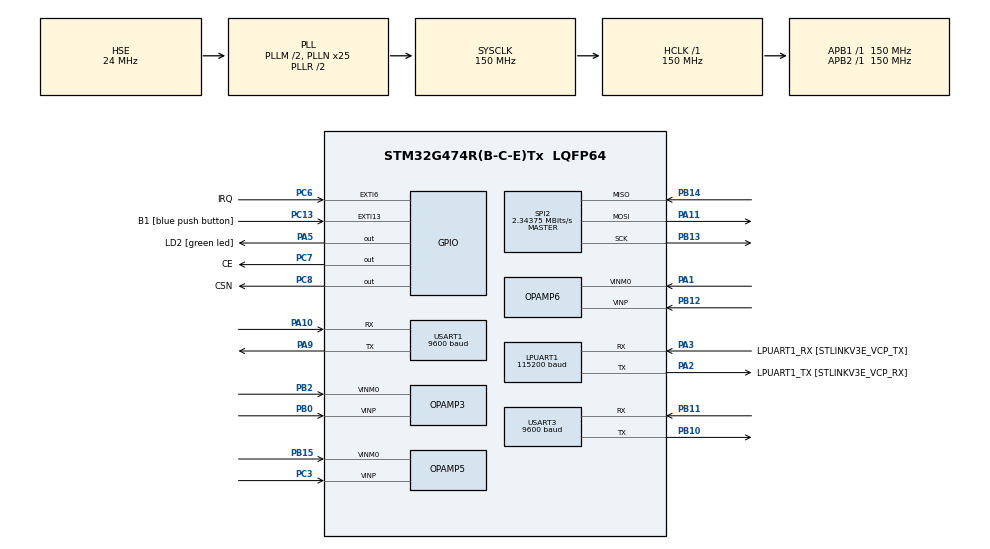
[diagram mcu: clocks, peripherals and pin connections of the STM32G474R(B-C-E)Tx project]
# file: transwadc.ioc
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ADC2.Channel-0\#ChannelRegularConversion=ADC_CHANNEL_VOPAMP3_ADC2
ADC2.ClockPrescaler=ADC_CLOCK_SYNC_PCLK_DIV4
ADC2.ContinuousConvMode=ENABLE
ADC2.NbrOfConversionFlag=1
ADC2.OffsetNumber-0\#ChannelRegularConversion=ADC_OFFSET_NONE
ADC2.Rank-0\#ChannelRegularConversion=1
ADC2.SamplingTime-0\#ChannelRegularConversion=ADC_SAMPLETIME_47CYCLES_5
ADC4.Channel-0\#ChannelRegularConversion=ADC_CHANNEL_VOPAMP6
ADC4.ContinuousConvMode=ENABLE
ADC4.NbrOfConversionFlag=1
ADC4.OffsetNumber-0\#ChannelRegularConversion=ADC_OFFSET_NONE
ADC4.Rank-0\#ChannelRegularConversion=1
ADC4.SamplingTime-0\#ChannelRegularConversion=ADC_SAMPLETIME_47CYCLES_5
ADC5.Channel-2\#ChannelRegularConversion=ADC_CHANNEL_VOPAMP5
ADC5.ContinuousConvMode=ENABLE
ADC5.NbrOfConversionFlag=1
ADC5.OffsetNumber-2\#ChannelRegularConversion=ADC_OFFSET_NONE
ADC5.Rank-2\#ChannelRegularConversion=1
ADC5.SamplingTime-2\#ChannelRegularConversion=ADC_SAMPLETIME_2CYCLES_5
Dma.ADC2.1.Direction=DMA_PERIPH_TO_MEMORY
Dma.ADC2.1.EventEnable=DISABLE
Dma.ADC2.1.Instance=DMA2_Channel1
Dma.ADC2.1.MemDataAlignment=DMA_MDATAALIGN_HALFWORD
Dma.ADC2.1.MemInc=DMA_MINC_ENABLE
Dma.ADC2.1.Mode=DMA_NORMAL
Dma.ADC2.1.PeriphDataAlignment=DMA_PDATAALIGN_HALFWORD
Dma.ADC2.1.PeriphInc=DMA_PINC_DISABLE
Dma.ADC2.1.Polarity=HAL_DMAMUX_REQ_GEN_RISING
Dma.ADC2.1.Priority=DMA_PRIORITY_VERY_HIGH
Dma.ADC2.1.RequestNumber=1
Dma.ADC2.1.SignalID=NONE
Dma.ADC2.1.SyncEnable=DISABLE
Dma.ADC2.1.SyncPolarity=HAL_DMAMUX_SYNC_NO_EVENT
Dma.ADC2.1.SyncRequestNumber=1
Dma.ADC2.1.SyncSignalID=NONE
Dma.ADC4.3.Direction=DMA_PERIPH_TO_MEMORY
Dma.ADC4.3.EventEnable=DISABLE
Dma.ADC4.3.Instance=DMA1_Channel2
Dma.ADC4.3.MemDataAlignment=DMA_MDATAALIGN_HALFWORD
Dma.ADC4.3.MemInc=DMA_MINC_ENABLE
Dma.ADC4.3.Mode=DMA_NORMAL
Dma.ADC4.3.PeriphDataAlignment=DMA_PDATAALIGN_HALFWORD
Dma.ADC4.3.PeriphInc=DMA_PINC_DISABLE
Dma.ADC4.3.Polarity=HAL_DMAMUX_REQ_GEN_RISING
Dma.ADC4.3.Priority=DMA_PRIORITY_VERY_HIGH
Dma.ADC4.3.RequestNumber=1
Dma.ADC4.3.SignalID=NONE
Dma.ADC4.3.SyncEnable=DISABLE
Dma.ADC4.3.SyncPolarity=HAL_DMAMUX_SYNC_NO_EVENT
Dma.ADC4.3.SyncRequestNumber=1
Dma.ADC4.3.SyncSignalID=NONE
Dma.ADC5.2.Direction=DMA_PERIPH_TO_MEMORY
Dma.ADC5.2.EventEnable=DISABLE
Dma.ADC5.2.Instance=DMA1_Channel1
Dma.ADC5.2.MemDataAlignment=DMA_MDATAALIGN_HALFWORD
Dma.ADC5.2.MemInc=DMA_MINC_ENABLE
Dma.ADC5.2.Mode=DMA_NORMAL
Dma.ADC5.2.PeriphDataAlignment=DMA_PDATAALIGN_HALFWORD
Dma.ADC5.2.PeriphInc=DMA_PINC_DISABLE
Dma.ADC5.2.Polarity=HAL_DMAMUX_REQ_GEN_RISING
Dma.ADC5.2.Priority=DMA_PRIORITY_VERY_HIGH
Dma.ADC5.2.RequestNumber=1
Dma.ADC5.2.SignalID=NONE
Dma.ADC5.2.SyncEnable=DISABLE
Dma.ADC5.2.SyncPolarity=HAL_DMAMUX_SYNC_NO_EVENT
Dma.ADC5.2.SyncRequestNumber=1
Dma.ADC5.2.SyncSignalID=NONE
Dma.LPUART1_TX.0.Direction=DMA_MEMORY_TO_PERIPH
Dma.LPUART1_TX.0.EventEnable=DISABLE
Dma.LPUART1_TX.0.Instance=DMA1_Channel3
Dma.LPUART1_TX.0.MemDataAlignment=DMA_MDATAALIGN_BYTE
Dma.LPUART1_TX.0.MemInc=DMA_MINC_ENABLE
Dma.LPUART1_TX.0.Mode=DMA_NORMAL
Dma.LPUART1_TX.0.PeriphDataAlignment=DMA_PDATAALIGN_BYTE
Dma.LPUART1_TX.0.PeriphInc=DMA_PINC_DISABLE
Dma.LPUART1_TX.0.Polarity=HAL_DMAMUX_REQ_GEN_RISING
Dma.LPUART1_TX.0.Priority=DMA_PRIORITY_LOW
Dma.LPUART1_TX.0.RequestNumber=1
Dma.LPUART1_TX.0.SignalID=NONE
Dma.LPUART1_TX.0.SyncEnable=DISABLE
Dma.LPUART1_TX.0.SyncPolarity=HAL_DMAMUX_SYNC_NO_EVENT
Dma.LPUART1_TX.0.SyncRequestNumber=1
Dma.LPUART1_TX.0.SyncSignalID=NONE
Dma.Request0=LPUART1_TX
Dma.Request1=ADC2
Dma.Request2=ADC5
Dma.Request3=ADC4
LPUART1.BaudRate=115200
LPUART1.WordLength=UART_WORDLENGTH_8B
Mcu.Family=STM32G4
Mcu.Name=STM32G474R(B-C-E)Tx
Mcu.Package=LQFP64
NVIC.ADC1_2_IRQn=true\:0\:0\:false\:false\:true\:true\:true
NVIC.DMA1_Channel1_IRQn=true\:0\:0\:false\:false\:true\:false\:true
NVIC.DMA1_Channel2_IRQn=true\:0\:0\:false\:false\:true\:false\:true
NVIC.DMA1_Channel3_IRQn=true\:0\:0\:false\:false\:true\:false\:true
NVIC.DMA2_Channel1_IRQn=true\:0\:0\:false\:false\:true\:false\:true
NVIC.EXTI15_10_IRQn=true\:0\:0\:false\:false\:true\:true\:true
NVIC.FLASH_IRQn=true\:0\:0\:false\:false\:true\:true\:true
NVIC.PVD_PVM_IRQn=true\:0\:0\:false\:false\:true\:true\:true
NVIC.PriorityGroup=NVIC_PRIORITYGROUP_4
OPAMP3.PgaGain=OPAMP_PGA_GAIN_64_OR_MINUS_63
OPAMP3.PowerMode=OPAMP_POWERMODE_HIGHSPEED
OPAMP5.PgaGain=OPAMP_PGA_GAIN_64_OR_MINUS_63
OPAMP5.PowerMode=OPAMP_POWERMODE_HIGHSPEED
PA1.Mode=PGA_Internally_Connected
PA1.Signal=OPAMP6_VINM0
PA10.Mode=Asynchronous
PA10.Signal=USART1_RX
PA11.Mode=Full_Duplex_Master
PA11.Signal=SPI2_MOSI
PA13.GPIO_Label=T_SWDIO
PA13.Mode=Serial_Wire
PA13.Signal=SYS_JTMS-SWDIO
PA14.GPIO_Label=T_SWCLK
PA14.Mode=Serial_Wire
PA14.Signal=SYS_JTCK-SWCLK
PA2.GPIO_Label=LPUART1_TX [STLINKV3E_VCP_RX]
PA2.Mode=Asynchronous
PA2.Signal=LPUART1_TX
PA3.GPIO_Label=LPUART1_RX [STLINKV3E_VCP_TX]
PA3.Mode=Asynchronous
PA3.Signal=LPUART1_RX
PA5.GPIO_Label=LD2 [green led]
PA5.Signal=GPIO_Output
PA9.Mode=Asynchronous
PA9.Signal=USART1_TX
PB0.Mode=PGA_Internally_Connected
PB0.Signal=OPAMP3_VINP
PB10.Mode=Asynchronous
PB10.Signal=USART3_TX
PB11.Mode=Asynchronous
PB11.Signal=USART3_RX
PB12.Mode=PGA_Internally_Connected
PB12.Signal=OPAMP6_VINP
PB13.Mode=Full_Duplex_Master
PB13.Signal=SPI2_SCK
PB14.Mode=Full_Duplex_Master
PB14.Signal=SPI2_MISO
PB15.Mode=PGA_Internally_Connected
PB15.Signal=OPAMP5_VINM0
PB2.Mode=PGA_Internally_Connected
PB2.Signal=OPAMP3_VINM0
PB3.GPIO_Label=T_SWO
PB3.Signal=SYS_JTDO-SWO
PC13.GPIO_Label=B1 [blue push button]
PC13.Signal=GPXTI13
PC14-OSC32_IN.Mode=LSE-External-Oscillator
PC14-OSC32_IN.Signal=RCC_OSC32_IN
PC15-OSC32_OUT.Mode=LSE-External-Oscillator
PC15-OSC32_OUT.Signal=RCC_OSC32_OUT
PC3.Mode=PGA_Internally_Connected
PC3.Signal=OPAMP5_VINP
PC6.GPIO_Label=IRQ
PC6.Signal=GPXTI6
PC7.GPIO_Label=CE
PC7.GPIO_PuPd=GPIO_PULLDOWN
PC7.Signal=GPIO_Output
PC8.GPIO_Label=CSN
PC8.GPIO_PuPd=GPIO_PULLUP
PC8.Signal=GPIO_Output
PF0-OSC_IN.Mode=HSE-External-Oscillator
PF0-OSC_IN.Signal=RCC_OSC_IN
PF1-OSC_OUT.Mode=HSE-External-Oscillator
PF1-OSC_OUT.Signal=RCC_OSC_OUT
ProjectManager.HeapSize=0x200
ProjectManager.StackSize=0x400
ProjectManager.TargetToolchain=STM32CubeIDE
RCC.ADC12Freq_Value=150000000
RCC.ADC345Freq_Value=150000000
RCC.AHBFreq_Value=150000000
RCC.APB1Freq_Value=150000000
RCC.APB1TimFreq_Value=150000000
RCC.APB2Freq_Value=150000000
RCC.APB2TimFreq_Value=150000000
RCC.CK48CLockSelection=RCC_USBCLKSOURCE_HSI48
RCC.CortexFreq_Value=150000000
RCC.EXTERNAL_CLOCK_VALUE=12288000
RCC.HCLKFreq_Value=150000000
RCC.HSE_VALUE=24000000
RCC.HSI48_VALUE=48000000
RCC.HSI_VALUE=16000000
RCC.PLLM=RCC_PLLM_DIV2
RCC.PLLN=25
RCC.PLLSourceVirtual=RCC_PLLSOURCE_HSE
RCC.RTCClockSelection=RCC_RTCCLKSOURCE_LSE
RCC.SYSCLKFreq_VALUE=150000000
RCC.SYSCLKSource=RCC_SYSCLKSOURCE_PLLCLK
RCC.USBFreq_Value=48000000
RCC.VCOOutputFreq_Value=300000000
SPI2.BaudRatePrescaler=SPI_BAUDRATEPRESCALER_64
SPI2.CalculateBaudRate=2.34375 MBits/s
SPI2.DataSize=SPI_DATASIZE_8BIT
SPI2.Direction=SPI_DIRECTION_2LINES
SPI2.Mode=SPI_MODE_MASTER
SPI2.NSSPMode=SPI_NSS_PULSE_DISABLE
SPI2.VirtualType=VM_MASTER
USART1.BaudRate=9600
USART1.VirtualMode-Asynchronous=VM_ASYNC
USART3.BaudRate=9600
USART3.VirtualMode-Asynchronous=VM_ASYNC
VP_ADC2_OPAMP_INTERNAL3.Mode=IN-OPAMP3
VP_ADC4_OPAMP_INTERNAL6.Mode=IN-OPAMP6
VP_ADC5_OPAMP_INTERNAL5.Mode=IN-OPAMP5
VP_SYS_VS_DBSignals.Mode=DisableDeadBatterySignals
board=NUCLEO-G474RE

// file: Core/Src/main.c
/* USER CODE BEGIN Header */
/**
 ******************************************************************************
 * @file           : main.c
 * @brief          : Main program body
 ******************************************************************************
 * @attention
 *
 * <h2><center>&copy; Copyright (c) 2020 STMicroelectronics.
 * All rights reserved.</center></h2>
 *
 * This software component is licensed by ST under BSD 3-Clause license,
 * the "License"; You may not use this file except in compliance with the
 * License. You may obtain a copy of the License at:
 *                        opensource.org/licenses/BSD-3-Clause
 *
 ******************************************************************************
 */
/* USER CODE END Header */
#include "main.h"

/* USER CODE BEGIN Includes */
#include <string.h>
#include <stdbool.h>
#include "RF24.h"
#define MAXCLISTRING          100 // Biggest string the user will type
volatile uint32_t msTicks;
uint8_t rxBuffer5 = '\000'; // where we store that one character that just came in
uint8_t rxString5[MAXCLISTRING]; // where we build our string from characters coming in
uint8_t rxBuffer3 = '\000'; // where we store that one character that just came in
uint8_t rxString3[MAXCLISTRING]; // where we build our string from characters coming in
uint8_t stroka[MAXCLISTRING];
uint8_t Variable[MAXCLISTRING];
int  rxindex5 = 0; // index for going though rxString
void print5(uint8_t string[]);
void executeSerialCommand5(uint8_t string[]);
char trans_str[64] = {0,};
int max = 32000;
volatile uint16_t adc = 0;
volatile uint16_t adcm1[0] = {0};
volatile uint16_t adcm2[0] = {0};
volatile uint16_t adcm3[60000] = {0};
volatile uint16_t flag1 = 0;
volatile uint16_t flag2 = 0;
volatile uint16_t flag3 = 0;
int  rxindex3 = 0; // index for going though rxString
uint32_t scorer = 0;
char snum[50];

int var;
uint16_t time = 0;
uint16_t timend = 0;
/* USER CODE END Includes */

ADC_HandleTypeDef hadc2;
ADC_HandleTypeDef hadc4;
ADC_HandleTypeDef hadc5;
DMA_HandleTypeDef hdma_adc2;
DMA_HandleTypeDef hdma_adc4;
DMA_HandleTypeDef hdma_adc5;

UART_HandleTypeDef hlpuart1;
UART_HandleTypeDef huart1;
UART_HandleTypeDef huart3;
DMA_HandleTypeDef hdma_lpuart1_tx;

OPAMP_HandleTypeDef hopamp3;
OPAMP_HandleTypeDef hopamp5;
OPAMP_HandleTypeDef hopamp6;

SPI_HandleTypeDef hspi2;

void SystemClock_Config(void);
static void MX_GPIO_Init(void);
static void MX_DMA_Init(void);
static void MX_LPUART1_UART_Init(void);
static void MX_USART3_UART_Init(void);
static void MX_OPAMP3_Init(void);
static void MX_ADC2_Init(void);
static void MX_OPAMP6_Init(void);
static void MX_ADC4_Init(void);
static void MX_USART1_UART_Init(void);
static void MX_ADC5_Init(void);
static void MX_OPAMP5_Init(void);
static void MX_SPI2_Init(void);

int main(void)
{

  /* MCU Configuration--------------------------------------------------------*/

  /* Reset of all peripherals, Initializes the Flash interface and the Systick. */
  HAL_Init();

  /* Configure the system clock */
  SystemClock_Config();

  /* Initialize all configured peripherals */
  MX_GPIO_Init();
  MX_DMA_Init();
  MX_LPUART1_UART_Init();
  MX_USART3_UART_Init();
  MX_OPAMP3_Init();
  MX_ADC2_Init();
  MX_OPAMP6_Init();
  MX_ADC4_Init();
  MX_USART1_UART_Init();
  MX_ADC5_Init();
  MX_OPAMP5_Init();
  MX_SPI2_Init();

  /* Infinite loop */
  /* USER CODE BEGIN WHILE */
	HAL_ADCEx_Calibration_Start(&hadc4, ADC_SINGLE_ENDED);
	HAL_ADCEx_Calibration_Start(&hadc2, ADC_SINGLE_ENDED);
	HAL_ADCEx_Calibration_Start(&hadc5, ADC_SINGLE_ENDED);
	HAL_OPAMP_Start(&hopamp6);
	HAL_OPAMP_Start(&hopamp3);
	HAL_OPAMP_Start(&hopamp5);
	//HAL_UART_Transmit(&hlpuart1, (uint8_t*) "salam\r\n", strlen("salam\r\n"),1);
	DWT_Init();
	const uint64_t pipe1 = 0xE8E8F0F0E2LL;
	NRF_Init();
	enableAckPayload();
	//setAutoAck(false);
	//setPayloadSize(6);
	setChannel(0x73);
	openWritingPipe(pipe1);

	uint8_t nrf_data[32] = {88,86,97,}; // буфер указываем максимального размера

	while (1)
	{

		flag1 =0;
		flag2 =0;
		flag3 =0;
		memset(adcm3,0,60000);
		//print5("0000000gen");

		//HAL_Delay(cmech);
		HAL_GPIO_TogglePin(LD2_GPIO_Port, LD2_Pin);

		write(&nrf_data, strlen((const char*)nrf_data));
		//HAL_ADC_Start_DMA(&hadc5, (uint32_t*)adcm3, 60000);
		//while(flag1==1 && flag2==1 && flag3==1);

		HAL_Delay(500);

		for (var = 100; var < 60000; ++var) {

			if(adcm3[var]>600){

//				int maxi, maxi_i, ii;
//
//				maxi = 0;
//				for(int ikk = 10; ikk < 60000-1; ++ikk)
//				{
////					if(adcm3[ikk]!=0)
////					if(adcm3[ikk+1]/adcm3[ikk] > maxi)
////					{
////						maxi = adcm3[ikk+1]/adcm3[ikk];
////						maxi_i = ikk;
////					}
//					if(adcm3[ikk] > 20)
//					{
//						maxi_i = ikk;
//						break;
//					}
//				}
//
//				for (ii = 0; ii < 60000; ++ii) {
//
//					itoa(adcm3[ii], snum1, 10);
//					strcat(snum1,"\r\n");
//					HAL_UART_Transmit(&hlpuart1, (uint8_t*) snum1, strlen(snum1),1);
//				}
				char snum1[50];
				itoa(var, snum1, 10);
				strcat(snum1,"\r\n");
				HAL_UART_Transmit(&hlpuart1, (uint8_t*) snum1, strlen(snum1),1);

				var = 60000;
				break;
			}

		}

//		for (int ii = 0; ii < 60000; ++ii) {
//
//			itoa(adcm3[ii], snum1, 10);
//			strcat(snum1,"\r\n");
//			HAL_UART_Transmit(&hlpuart1, (uint8_t*) snum1, strlen(snum1),1);
//		}
//		itoa(5000, snum1, 10);
//		strcat(snum1,"\r\n");
//		strcat(snum, snum1);
//		HAL_UART_Transmit(&hlpuart1, (uint8_t*) snum1, strlen(snum1),10);
	HAL_Delay(40);
	isAckPayloadAvailable();
    /* USER CODE END WHILE */

	}
}

void SystemClock_Config(void)
{
  RCC_OscInitTypeDef RCC_OscInitStruct = {0};
  RCC_ClkInitTypeDef RCC_ClkInitStruct = {0};
  RCC_PeriphCLKInitTypeDef PeriphClkInit = {0};

  /** Configure the main internal regulator output voltage
  */
  HAL_PWREx_ControlVoltageScaling(PWR_REGULATOR_VOLTAGE_SCALE1);
  /** Initializes the RCC Oscillators according to the specified parameters
  * in the RCC_OscInitTypeDef structure.
  */
  RCC_OscInitStruct.OscillatorType = RCC_OSCILLATORTYPE_HSE;
  RCC_OscInitStruct.HSEState = RCC_HSE_ON;
  RCC_OscInitStruct.PLL.PLLState = RCC_PLL_ON;
  RCC_OscInitStruct.PLL.PLLSource = RCC_PLLSOURCE_HSE;
  RCC_OscInitStruct.PLL.PLLM = RCC_PLLM_DIV2;
  RCC_OscInitStruct.PLL.PLLN = 25;
  RCC_OscInitStruct.PLL.PLLP = RCC_PLLP_DIV2;
  RCC_OscInitStruct.PLL.PLLQ = RCC_PLLQ_DIV2;
  RCC_OscInitStruct.PLL.PLLR = RCC_PLLR_DIV2;
  if (HAL_RCC_OscConfig(&RCC_OscInitStruct) != HAL_OK)
  {
    Error_Handler();
  }
  /** Initializes the CPU, AHB and APB buses clocks
  */
  RCC_ClkInitStruct.ClockType = RCC_CLOCKTYPE_HCLK|RCC_CLOCKTYPE_SYSCLK
                              |RCC_CLOCKTYPE_PCLK1|RCC_CLOCKTYPE_PCLK2;
  RCC_ClkInitStruct.SYSCLKSource = RCC_SYSCLKSOURCE_PLLCLK;
  RCC_ClkInitStruct.AHBCLKDivider = RCC_SYSCLK_DIV1;
  RCC_ClkInitStruct.APB1CLKDivider = RCC_HCLK_DIV1;
  RCC_ClkInitStruct.APB2CLKDivider = RCC_HCLK_DIV1;

  if (HAL_RCC_ClockConfig(&RCC_ClkInitStruct, FLASH_LATENCY_4) != HAL_OK)
  {
    Error_Handler();
  }
  /** Initializes the peripherals clocks
  */
  PeriphClkInit.PeriphClockSelection = RCC_PERIPHCLK_USART1|RCC_PERIPHCLK_USART3
                              |RCC_PERIPHCLK_LPUART1|RCC_PERIPHCLK_ADC12
                              |RCC_PERIPHCLK_ADC345;
  PeriphClkInit.Usart1ClockSelection = RCC_USART1CLKSOURCE_PCLK2;
  PeriphClkInit.Usart3ClockSelection = RCC_USART3CLKSOURCE_PCLK1;
  PeriphClkInit.Lpuart1ClockSelection = RCC_LPUART1CLKSOURCE_PCLK1;
  PeriphClkInit.Adc12ClockSelection = RCC_ADC12CLKSOURCE_SYSCLK;
  PeriphClkInit.Adc345ClockSelection = RCC_ADC345CLKSOURCE_SYSCLK;
  if (HAL_RCCEx_PeriphCLKConfig(&PeriphClkInit) != HAL_OK)
  {
    Error_Handler();
  }
}

static void MX_ADC2_Init(void)
{

  ADC_ChannelConfTypeDef sConfig = {0};

  /** Common config
  */
  hadc2.Instance = ADC2;
  hadc2.Init.ClockPrescaler = ADC_CLOCK_SYNC_PCLK_DIV4;
  hadc2.Init.Resolution = ADC_RESOLUTION_12B;
  hadc2.Init.DataAlign = ADC_DATAALIGN_RIGHT;
  hadc2.Init.GainCompensation = 0;
  hadc2.Init.ScanConvMode = ADC_SCAN_DISABLE;
  hadc2.Init.EOCSelection = ADC_EOC_SINGLE_CONV;
  hadc2.Init.LowPowerAutoWait = DISABLE;
  hadc2.Init.ContinuousConvMode = ENABLE;
  hadc2.Init.NbrOfConversion = 1;
  hadc2.Init.DiscontinuousConvMode = DISABLE;
  hadc2.Init.ExternalTrigConv = ADC_SOFTWARE_START;
  hadc2.Init.ExternalTrigConvEdge = ADC_EXTERNALTRIGCONVEDGE_NONE;
  hadc2.Init.DMAContinuousRequests = DISABLE;
  hadc2.Init.Overrun = ADC_OVR_DATA_PRESERVED;
  hadc2.Init.OversamplingMode = DISABLE;
  if (HAL_ADC_Init(&hadc2) != HAL_OK)
  {
    Error_Handler();
  }
  /** Configure Regular Channel
  */
  sConfig.Channel = ADC_CHANNEL_VOPAMP3_ADC2;
  sConfig.Rank = ADC_REGULAR_RANK_1;
  sConfig.SamplingTime = ADC_SAMPLETIME_47CYCLES_5;
  sConfig.SingleDiff = ADC_SINGLE_ENDED;
  sConfig.OffsetNumber = ADC_OFFSET_NONE;
  sConfig.Offset = 0;
  if (HAL_ADC_ConfigChannel(&hadc2, &sConfig) != HAL_OK)
  {
    Error_Handler();
  }

}

static void MX_ADC4_Init(void)
{

  ADC_ChannelConfTypeDef sConfig = {0};

  /** Common config
  */
  hadc4.Instance = ADC4;
  hadc4.Init.ClockPrescaler = ADC_CLOCK_SYNC_PCLK_DIV4;
  hadc4.Init.Resolution = ADC_RESOLUTION_12B;
  hadc4.Init.DataAlign = ADC_DATAALIGN_RIGHT;
  hadc4.Init.GainCompensation = 0;
  hadc4.Init.ScanConvMode = ADC_SCAN_DISABLE;
  hadc4.Init.EOCSelection = ADC_EOC_SINGLE_CONV;
  hadc4.Init.LowPowerAutoWait = DISABLE;
  hadc4.Init.ContinuousConvMode = ENABLE;
  hadc4.Init.NbrOfConversion = 1;
  hadc4.Init.DiscontinuousConvMode = DISABLE;
  hadc4.Init.ExternalTrigConv = ADC_SOFTWARE_START;
  hadc4.Init.ExternalTrigConvEdge = ADC_EXTERNALTRIGCONVEDGE_NONE;
  hadc4.Init.DMAContinuousRequests = DISABLE;
  hadc4.Init.Overrun = ADC_OVR_DATA_PRESERVED;
  hadc4.Init.OversamplingMode = DISABLE;
  if (HAL_ADC_Init(&hadc4) != HAL_OK)
  {
    Error_Handler();
  }
  /** Configure Regular Channel
  */
  sConfig.Channel = ADC_CHANNEL_VOPAMP6;
  sConfig.Rank = ADC_REGULAR_RANK_1;
  sConfig.SamplingTime = ADC_SAMPLETIME_47CYCLES_5;
  sConfig.SingleDiff = ADC_SINGLE_ENDED;
  sConfig.OffsetNumber = ADC_OFFSET_NONE;
  sConfig.Offset = 0;
  if (HAL_ADC_ConfigChannel(&hadc4, &sConfig) != HAL_OK)
  {
    Error_Handler();
  }

}

static void MX_ADC5_Init(void)
{

  ADC_ChannelConfTypeDef sConfig = {0};

  /** Common config
  */
  hadc5.Instance = ADC5;
  hadc5.Init.ClockPrescaler = ADC_CLOCK_SYNC_PCLK_DIV4;
  hadc5.Init.Resolution = ADC_RESOLUTION_12B;
  hadc5.Init.DataAlign = ADC_DATAALIGN_RIGHT;
  hadc5.Init.GainCompensation = 0;
  hadc5.Init.ScanConvMode = ADC_SCAN_DISABLE;
  hadc5.Init.EOCSelection = ADC_EOC_SINGLE_CONV;
  hadc5.Init.LowPowerAutoWait = DISABLE;
  hadc5.Init.ContinuousConvMode = ENABLE;
  hadc5.Init.NbrOfConversion = 1;
  hadc5.Init.DiscontinuousConvMode = DISABLE;
  hadc5.Init.ExternalTrigConv = ADC_SOFTWARE_START;
  hadc5.Init.ExternalTrigConvEdge = ADC_EXTERNALTRIGCONVEDGE_NONE;
  hadc5.Init.DMAContinuousRequests = DISABLE;
  hadc5.Init.Overrun = ADC_OVR_DATA_PRESERVED;
  hadc5.Init.OversamplingMode = DISABLE;
  if (HAL_ADC_Init(&hadc5) != HAL_OK)
  {
    Error_Handler();
  }
  /** Configure Regular Channel
  */
  sConfig.Channel = ADC_CHANNEL_VOPAMP5;
  sConfig.Rank = ADC_REGULAR_RANK_1;
  sConfig.SamplingTime = ADC_SAMPLETIME_2CYCLES_5;
  sConfig.SingleDiff = ADC_SINGLE_ENDED;
  sConfig.OffsetNumber = ADC_OFFSET_NONE;
  sConfig.Offset = 0;
  if (HAL_ADC_ConfigChannel(&hadc5, &sConfig) != HAL_OK)
  {
    Error_Handler();
  }

}

static void MX_LPUART1_UART_Init(void)
{

  hlpuart1.Instance = LPUART1;
  hlpuart1.Init.BaudRate = 115200;
  hlpuart1.Init.WordLength = UART_WORDLENGTH_8B;
  hlpuart1.Init.StopBits = UART_STOPBITS_1;
  hlpuart1.Init.Parity = UART_PARITY_NONE;
  hlpuart1.Init.Mode = UART_MODE_TX_RX;
  hlpuart1.Init.HwFlowCtl = UART_HWCONTROL_NONE;
  hlpuart1.Init.OneBitSampling = UART_ONE_BIT_SAMPLE_DISABLE;
  hlpuart1.Init.ClockPrescaler = UART_PRESCALER_DIV1;
  hlpuart1.AdvancedInit.AdvFeatureInit = UART_ADVFEATURE_NO_INIT;
  if (HAL_UART_Init(&hlpuart1) != HAL_OK)
  {
    Error_Handler();
  }
  if (HAL_UARTEx_SetTxFifoThreshold(&hlpuart1, UART_TXFIFO_THRESHOLD_1_8) != HAL_OK)
  {
    Error_Handler();
  }
  if (HAL_UARTEx_SetRxFifoThreshold(&hlpuart1, UART_RXFIFO_THRESHOLD_1_8) != HAL_OK)
  {
    Error_Handler();
  }
  if (HAL_UARTEx_DisableFifoMode(&hlpuart1) != HAL_OK)
  {
    Error_Handler();
  }

}

static void MX_USART1_UART_Init(void)
{

  huart1.Instance = USART1;
  huart1.Init.BaudRate = 9600;
  huart1.Init.WordLength = UART_WORDLENGTH_8B;
  huart1.Init.StopBits = UART_STOPBITS_1;
  huart1.Init.Parity = UART_PARITY_NONE;
  huart1.Init.Mode = UART_MODE_TX_RX;
  huart1.Init.HwFlowCtl = UART_HWCONTROL_NONE;
  huart1.Init.OverSampling = UART_OVERSAMPLING_16;
  huart1.Init.OneBitSampling = UART_ONE_BIT_SAMPLE_DISABLE;
  huart1.Init.ClockPrescaler = UART_PRESCALER_DIV1;
  huart1.AdvancedInit.AdvFeatureInit = UART_ADVFEATURE_NO_INIT;
  if (HAL_UART_Init(&huart1) != HAL_OK)
  {
    Error_Handler();
  }
  if (HAL_UARTEx_SetTxFifoThreshold(&huart1, UART_TXFIFO_THRESHOLD_1_8) != HAL_OK)
  {
    Error_Handler();
  }
  if (HAL_UARTEx_SetRxFifoThreshold(&huart1, UART_RXFIFO_THRESHOLD_1_8) != HAL_OK)
  {
    Error_Handler();
  }
  if (HAL_UARTEx_DisableFifoMode(&huart1) != HAL_OK)
  {
    Error_Handler();
  }

}

static void MX_USART3_UART_Init(void)
{

  huart3.Instance = USART3;
  huart3.Init.BaudRate = 9600;
  huart3.Init.WordLength = UART_WORDLENGTH_8B;
  huart3.Init.StopBits = UART_STOPBITS_1;
  huart3.Init.Parity = UART_PARITY_NONE;
  huart3.Init.Mode = UART_MODE_TX_RX;
  huart3.Init.HwFlowCtl = UART_HWCONTROL_NONE;
  huart3.Init.OverSampling = UART_OVERSAMPLING_16;
  huart3.Init.OneBitSampling = UART_ONE_BIT_SAMPLE_DISABLE;
  huart3.Init.ClockPrescaler = UART_PRESCALER_DIV1;
  huart3.AdvancedInit.AdvFeatureInit = UART_ADVFEATURE_NO_INIT;
  if (HAL_UART_Init(&huart3) != HAL_OK)
  {
    Error_Handler();
  }
  if (HAL_UARTEx_SetTxFifoThreshold(&huart3, UART_TXFIFO_THRESHOLD_1_8) != HAL_OK)
  {
    Error_Handler();
  }
  if (HAL_UARTEx_SetRxFifoThreshold(&huart3, UART_RXFIFO_THRESHOLD_1_8) != HAL_OK)
  {
    Error_Handler();
  }
  if (HAL_UARTEx_DisableFifoMode(&huart3) != HAL_OK)
  {
    Error_Handler();
  }

}

static void MX_OPAMP3_Init(void)
{

  hopamp3.Instance = OPAMP3;
  hopamp3.Init.PowerMode = OPAMP_POWERMODE_HIGHSPEED;
  hopamp3.Init.Mode = OPAMP_PGA_MODE;
  hopamp3.Init.NonInvertingInput = OPAMP_NONINVERTINGINPUT_IO0;
  hopamp3.Init.InternalOutput = ENABLE;
  hopamp3.Init.TimerControlledMuxmode = OPAMP_TIMERCONTROLLEDMUXMODE_DISABLE;
  hopamp3.Init.PgaConnect = OPAMP_PGA_CONNECT_INVERTINGINPUT_IO0;
  hopamp3.Init.PgaGain = OPAMP_PGA_GAIN_64_OR_MINUS_63;
  hopamp3.Init.UserTrimming = OPAMP_TRIMMING_FACTORY;
  if (HAL_OPAMP_Init(&hopamp3) != HAL_OK)
  {
    Error_Handler();
  }

}

static void MX_OPAMP5_Init(void)
{

  hopamp5.Instance = OPAMP5;
  hopamp5.Init.PowerMode = OPAMP_POWERMODE_HIGHSPEED;
  hopamp5.Init.Mode = OPAMP_PGA_MODE;
  hopamp5.Init.NonInvertingInput = OPAMP_NONINVERTINGINPUT_IO2;
  hopamp5.Init.InternalOutput = ENABLE;
  hopamp5.Init.TimerControlledMuxmode = OPAMP_TIMERCONTROLLEDMUXMODE_DISABLE;
  hopamp5.Init.PgaConnect = OPAMP_PGA_CONNECT_INVERTINGINPUT_IO0;
  hopamp5.Init.PgaGain = OPAMP_PGA_GAIN_64_OR_MINUS_63;
  hopamp5.Init.UserTrimming = OPAMP_TRIMMING_FACTORY;
  if (HAL_OPAMP_Init(&hopamp5) != HAL_OK)
  {
    Error_Handler();
  }

}

static void MX_OPAMP6_Init(void)
{

  hopamp6.Instance = OPAMP6;
  hopamp6.Init.PowerMode = OPAMP_POWERMODE_NORMAL;
  hopamp6.Init.Mode = OPAMP_PGA_MODE;
  hopamp6.Init.NonInvertingInput = OPAMP_NONINVERTINGINPUT_IO0;
  hopamp6.Init.InternalOutput = ENABLE;
  hopamp6.Init.TimerControlledMuxmode = OPAMP_TIMERCONTROLLEDMUXMODE_DISABLE;
  hopamp6.Init.PgaConnect = OPAMP_PGA_CONNECT_INVERTINGINPUT_IO0;
  hopamp6.Init.PgaGain = OPAMP_PGA_GAIN_2_OR_MINUS_1;
  hopamp6.Init.UserTrimming = OPAMP_TRIMMING_FACTORY;
  if (HAL_OPAMP_Init(&hopamp6) != HAL_OK)
  {
    Error_Handler();
  }

}

static void MX_SPI2_Init(void)
{

  /* SPI2 parameter configuration*/
  hspi2.Instance = SPI2;
  hspi2.Init.Mode = SPI_MODE_MASTER;
  hspi2.Init.Direction = SPI_DIRECTION_2LINES;
  hspi2.Init.DataSize = SPI_DATASIZE_8BIT;
  hspi2.Init.CLKPolarity = SPI_POLARITY_LOW;
  hspi2.Init.CLKPhase = SPI_PHASE_1EDGE;
  hspi2.Init.NSS = SPI_NSS_SOFT;
  hspi2.Init.BaudRatePrescaler = SPI_BAUDRATEPRESCALER_64;
  hspi2.Init.FirstBit = SPI_FIRSTBIT_MSB;
  hspi2.Init.TIMode = SPI_TIMODE_DISABLE;
  hspi2.Init.CRCCalculation = SPI_CRCCALCULATION_DISABLE;
  hspi2.Init.CRCPolynomial = 7;
  hspi2.Init.CRCLength = SPI_CRC_LENGTH_DATASIZE;
  hspi2.Init.NSSPMode = SPI_NSS_PULSE_DISABLE;
  if (HAL_SPI_Init(&hspi2) != HAL_OK)
  {
    Error_Handler();
  }

}

static void MX_DMA_Init(void)
{

  /* DMA controller clock enable */
  __HAL_RCC_DMAMUX1_CLK_ENABLE();
  __HAL_RCC_DMA1_CLK_ENABLE();
  __HAL_RCC_DMA2_CLK_ENABLE();

  /* DMA interrupt init */
  /* DMA1_Channel1_IRQn interrupt configuration */
  HAL_NVIC_SetPriority(DMA1_Channel1_IRQn, 0, 0);
  HAL_NVIC_EnableIRQ(DMA1_Channel1_IRQn);
  /* DMA1_Channel2_IRQn interrupt configuration */
  HAL_NVIC_SetPriority(DMA1_Channel2_IRQn, 0, 0);
  HAL_NVIC_EnableIRQ(DMA1_Channel2_IRQn);
  /* DMA1_Channel3_IRQn interrupt configuration */
  HAL_NVIC_SetPriority(DMA1_Channel3_IRQn, 0, 0);
  HAL_NVIC_EnableIRQ(DMA1_Channel3_IRQn);
  /* DMA2_Channel1_IRQn interrupt configuration */
  HAL_NVIC_SetPriority(DMA2_Channel1_IRQn, 0, 0);
  HAL_NVIC_EnableIRQ(DMA2_Channel1_IRQn);

}

static void MX_GPIO_Init(void)
{
  GPIO_InitTypeDef GPIO_InitStruct = {0};

  /* GPIO Ports Clock Enable */
  __HAL_RCC_GPIOC_CLK_ENABLE();
  __HAL_RCC_GPIOF_CLK_ENABLE();
  __HAL_RCC_GPIOA_CLK_ENABLE();
  __HAL_RCC_GPIOB_CLK_ENABLE();

  /*Configure GPIO pin Output Level */
  HAL_GPIO_WritePin(LD2_GPIO_Port, LD2_Pin, GPIO_PIN_RESET);

  /*Configure GPIO pin Output Level */
  HAL_GPIO_WritePin(GPIOC, CE_Pin|CSN_Pin, GPIO_PIN_RESET);

  /*Configure GPIO pins : B1_Pin IRQ_Pin */
  GPIO_InitStruct.Pin = B1_Pin|IRQ_Pin;
  GPIO_InitStruct.Mode = GPIO_MODE_IT_RISING;
  GPIO_InitStruct.Pull = GPIO_NOPULL;
  HAL_GPIO_Init(GPIOC, &GPIO_InitStruct);

  /*Configure GPIO pin : LD2_Pin */
  GPIO_InitStruct.Pin = LD2_Pin;
  GPIO_InitStruct.Mode = GPIO_MODE_OUTPUT_PP;
  GPIO_InitStruct.Pull = GPIO_NOPULL;
  GPIO_InitStruct.Speed = GPIO_SPEED_FREQ_LOW;
  HAL_GPIO_Init(LD2_GPIO_Port, &GPIO_InitStruct);

  /*Configure GPIO pin : CE_Pin */
  GPIO_InitStruct.Pin = CE_Pin;
  GPIO_InitStruct.Mode = GPIO_MODE_OUTPUT_PP;
  GPIO_InitStruct.Pull = GPIO_PULLDOWN;
  GPIO_InitStruct.Speed = GPIO_SPEED_FREQ_LOW;
  HAL_GPIO_Init(CE_GPIO_Port, &GPIO_InitStruct);

  /*Configure GPIO pin : CSN_Pin */
  GPIO_InitStruct.Pin = CSN_Pin;
  GPIO_InitStruct.Mode = GPIO_MODE_OUTPUT_PP;
  GPIO_InitStruct.Pull = GPIO_PULLUP;
  GPIO_InitStruct.Speed = GPIO_SPEED_FREQ_LOW;
  HAL_GPIO_Init(CSN_GPIO_Port, &GPIO_InitStruct);

  /* EXTI interrupt init*/
  HAL_NVIC_SetPriority(EXTI15_10_IRQn, 0, 0);
  HAL_NVIC_EnableIRQ(EXTI15_10_IRQn);

}

/* USER CODE BEGIN 4 */
void print5(uint8_t string[])
{
	strcpy(stroka,string);
	HAL_UART_Transmit(&huart1, (uint8_t*) string, strlen(string),10);
	//HAL_UART_Transmit(&hlpuart1, (uint8_t*) string, strlen(string), 10);
	//HAL_UART_Transmit(&hlpuart1, (uint8_t*)"\n", 1, 10);
	//HAL_UART_Transmit(&hlpuart1, (uint8_t*)"\r", 1, 10);
}

void HAL_ADC_ConvCpltCallback(ADC_HandleTypeDef* hadc)
{
	if(hadc->Instance == ADC5)
	{

		HAL_ADC_Stop(&hadc5); // это необязательно
		flag3 =1;

	}
	if(hadc->Instance == ADC2)
	{

		HAL_ADC_Stop(&hadc2); // это необязательно
		flag2 =1;

	}
	if(hadc->Instance == ADC4)
	{

		HAL_ADC_Stop(&hadc4); // это необязательно
		flag1 =1;

	}
}
void HAL_ADC_LevelOutOfWindowCallback(ADC_HandleTypeDef* hadc)
{
	if(hadc->Instance == ADC3) //check if the interrupt comes from ACD3
	{

		//    	  HAL_ADC_Start(&hadc3);
		//    	  HAL_ADC_PollForConversion(&hadc3, 10); // ожидаем окончания преобразования
		//    	  adc = HAL_ADC_GetValue(&hadc3); // читаем полученное значение в переменную adc
		//
		//    		  char snum[50];
		//
		//    		  // convert 123 to string [buf]
		//    		  itoa(adc, snum, 10);
		//    		  strcat(snum,"\n\r");
		//
		//    		  HAL_UART_Transmit(&hlpuart1, (uint8_t*) snum, strlen(snum),10);
		// HAL_ADC_Stop_IT(&hadc3);
		//	HAL_UART_Transmit_DMA(&hlpuart1, (uint8_t*) "1\n", 2);
		// HAL_ADC_Stop(&hadc3);
	}
}
/* USER CODE END 4 */

void Error_Handler(void)
{
}

/************************ (C) COPYRIGHT STMicroelectronics *****END OF FILE****/
